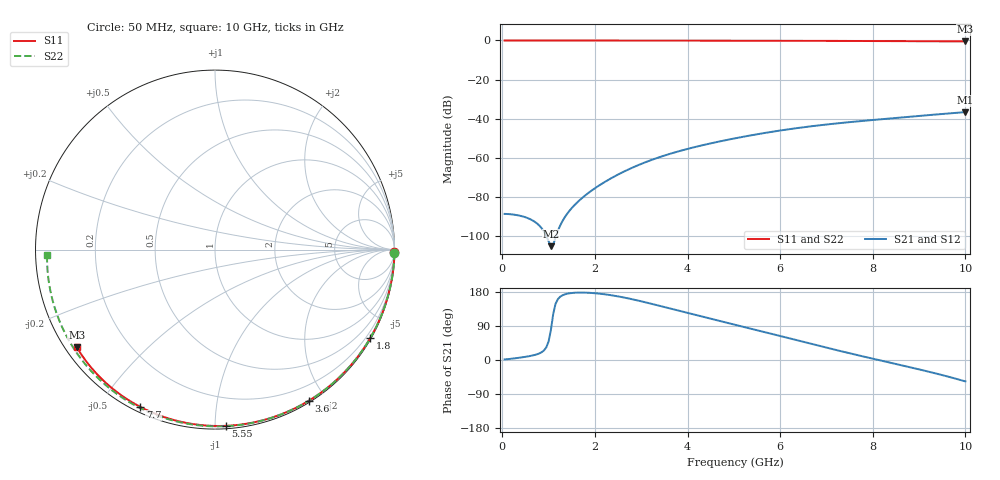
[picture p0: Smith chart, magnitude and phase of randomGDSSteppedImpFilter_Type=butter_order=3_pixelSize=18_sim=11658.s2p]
! freq	dB(S11)	phase(S11)	dB(S12)	phase(S12)
!  dB(S21)	phase(S21)	dB(S22)	phase(S22)
!S-par simulation data
#  GHz  S  DB  R 50
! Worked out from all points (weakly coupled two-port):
!   200 points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, 50 MHz to 10 GHz, reference 50 ohm
!   highest |S21| = -36.70 dB at 10 GHz (marker M1); lowest = -105.3 dB at 1.05 GHz (marker M2)
!   lowest |S11| = -0.5 dB at 10 GHz (marker M3), VSWR 34.09, Z = 1.61 - j15.9 ohm
!   |S11| at or under -10 dB: nowhere
!   |S22| runs from -0.6 to 0.0 dB; largest |S21 - S12| = 0
!   S11 on the Smith chart (normalised r, x): 50 MHz: open; 1.8 GHz: 0.03, -3.76; 3.6 GHz: 0.02, -1.80; 5.55 GHz: 0.02, -1.06; 7.7 GHz: 0.02, -0.63; 10 GHz: 0.03, -0.32
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0.05  -0.00 -0.8  -88.79 1.6  -88.79 1.6  -0.00 -1.0
0.55  -0.01 -9.2  -90.96 9.4  -90.96 9.4  -0.01 -11.3
1.05  -0.02 -17.5  -105.32 79.4  -105.32 79.4  -0.03 -21.4
1.75  -0.04 -29.0  -80.12 177.9  -80.12 177.9  -0.04 -35.4
1.8  -0.04 -29.8  -79.16 177.8  -79.16 177.8  -0.05 -36.4
2.1  -0.04 -34.6  -74.10 175.0  -74.10 175.0  -0.05 -42.3
2.3  -0.05 -37.8  -71.23 171.9  -71.23 171.9  -0.06 -46.1
2.5  -0.05 -41.0  -68.65 167.9  -68.65 167.9  -0.06 -50.0
2.95  -0.06 -48.1  -63.68 156.4  -63.68 156.4  -0.08 -58.5
3.4  -0.07 -55.0  -59.70 142.8  -59.70 142.8  -0.09 -66.9
3.6  -0.08 -58.1  -58.19 136.6  -58.19 136.6  -0.09 -70.6
3.95  -0.09 -63.4  -55.83 125.6  -55.83 125.6  -0.11 -76.9
4.3  -0.10 -68.6  -53.77 114.8  -53.77 114.8  -0.12 -83.2
5.05  -0.12 -79.4  -49.99 92.2  -49.99 92.2  -0.15 -96.2
5.55  -0.14 -86.5  -47.83 77.1  -47.83 77.1  -0.17 -104.7
6.1  -0.17 -94.1  -45.75 60.2  -45.75 60.2  -0.20 -113.8
6.7  -0.20 -102.2  -43.85 41.7  -43.85 41.7  -0.24 -123.6
7.2  -0.23 -108.8  -42.52 26.6  -42.52 26.6  -0.28 -131.7
7.7  -0.26 -115.4  -41.36 12.0  -41.36 12.0  -0.32 -139.8
8.35  -0.32 -123.8  -39.99 -6.4  -39.99 -6.4  -0.38 -150.4
9.2  -0.40 -134.6  -38.24 -30.6  -38.24 -30.6  -0.48 -164.5
10  -0.51 -144.8  -36.70 -56.5  -36.70 -56.5  -0.57 -178.3
